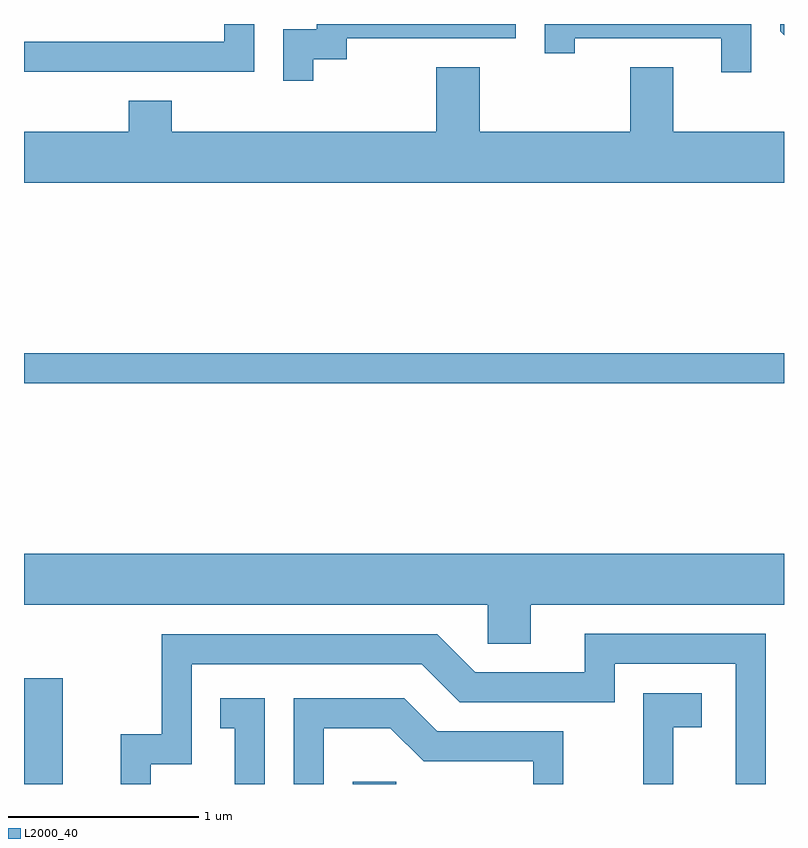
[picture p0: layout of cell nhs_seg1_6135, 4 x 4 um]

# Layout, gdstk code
import gdstk
lib = gdstk.Library(unit=1e-6, precision=1e-09)
def R(c, l, rs):  # rectangles x0, y0, x1, y1
    for r in rs: c.add(gdstk.rectangle(r[:2], r[2:], *l))
def P(c, l, *ps):  # polygons
    for p in ps: c.add(gdstk.Polygon(p, *l))
L2000_40 = (2000, 40)

nhs_seg1_6135 = lib.new_cell('nhs_seg1_6135')
R(nhs_seg1_6135, L2000_40, [(369.611,929.712,369.814,930.269), (371.341,929.712,371.569,929.724), (369.611,931.821,373.611,931.979)])
P(nhs_seg1_6135, L2000_40, [(371.134,933.526),(371.309,933.526),(371.309,933.636),(372.199,933.636),(372.199,933.712),(371.151,933.712),(371.151,933.684),(370.976,933.684),(370.976,933.413),(371.134,933.413)],
  [(373.439,933.712),(372.351,933.712),(372.351,933.558),(372.509,933.558),(372.509,933.636),(373.281,933.636),(373.281,933.458),(373.439,933.458)],
  [(370.824,933.712),(370.666,933.712),(370.666,933.619),(369.611,933.619),(369.611,933.461),(370.824,933.461)],
  [(373.611,933.712),(373.591,933.712),(373.591,933.674),(373.611,933.654)],
  [(370.161,933.309),(370.161,933.144),(369.611,933.144),(369.611,932.876),(373.611,932.876),(373.611,933.144),(373.029,933.144),(373.029,933.484),(372.801,933.484),(372.801,933.144),(372.009,933.144),(372.009,933.484),(371.781,933.484),(371.781,933.144),(370.389,933.144),(370.389,933.309)],
  [(372.279,930.656),(373.611,930.656),(373.611,930.924),(369.611,930.924),(369.611,930.656),(372.051,930.656),(372.051,930.451),(372.279,930.451)],
  [(370.279,929.816),(370.494,929.816),(370.494,930.341),(371.704,930.341),(371.904,930.141),(372.719,930.141),(372.719,930.346),(373.356,930.346),(373.356,929.712),(373.514,929.712),(373.514,930.504),(372.561,930.504),(372.561,930.299),(371.987,930.299),(371.787,930.499),(370.336,930.499),(370.336,929.974),(370.121,929.974),(370.121,929.712),(370.279,929.712)],
  [(373.029,930.011),(373.179,930.011),(373.179,930.189),(372.871,930.189),(372.871,929.712),(373.029,929.712)],
  [(371.189,930.006),(371.539,930.006),(371.714,929.831),(372.291,929.831),(372.291,929.712),(372.449,929.712),(372.449,929.989),(371.787,929.989),(371.612,930.164),(371.031,930.164),(371.031,929.712),(371.189,929.712)],
  [(370.879,930.164),(370.643,930.164),(370.643,930.006),(370.721,930.006),(370.721,929.712),(370.879,929.712)])

lib.write_gds('nhs_seg1_6135.gds')
